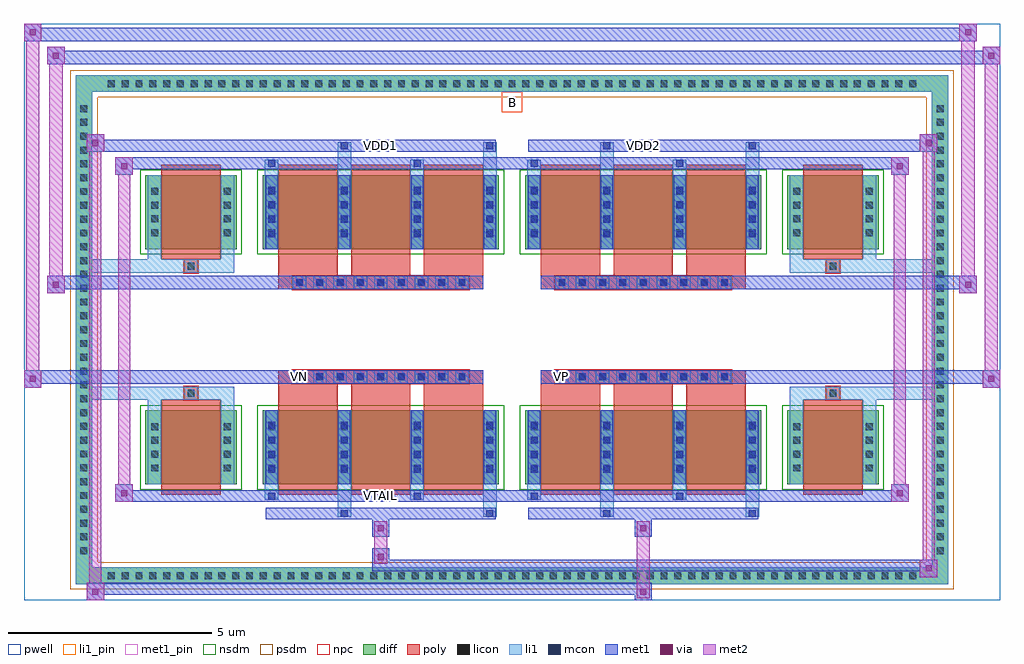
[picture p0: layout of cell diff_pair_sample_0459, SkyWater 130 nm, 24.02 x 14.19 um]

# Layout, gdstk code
import gdstk
lib = gdstk.Library(unit=1e-6, precision=5e-09)
def R(c, l, rs):  # rectangles x0, y0, x1, y1
    for r in rs: c.add(gdstk.rectangle(r[:2], r[2:], *l))
def A(c, l, x, y, w, h, nx, ny, dx, dy):  # array of equal rectangles
    R(c, l, [(x+i*dx, y+j*dy, x+i*dx+w, y+j*dy+h) for i in range(nx) for j in range(ny)])
def P(c, l, *ps):  # polygons
    for p in ps: c.add(gdstk.Polygon(p, *l))
pwell = (64, 44)
diff = (65, 20)
poly = (66, 20)
licon = (66, 44)
li1_pin = (67, 16)
li1 = (67, 20)
mcon = (67, 44)
met1_pin = (68, 16)
met1 = (68, 20)
via = (68, 44)
met2 = (69, 20)
nsdm = (93, 44)
psdm = (94, 20)
npc = (95, 20)

diff_pair_sample_0459 = lib.new_cell('diff_pair_sample_0459')
R(diff_pair_sample_0459, pwell, [(-12.01,-6.66,12.01,7.53), (-9.33,-4.85,-0.01,-0.795), (0.01,-4.85,9.33,-0.795), (-9.33,0.795,-0.01,4.85), (0.01,0.795,9.33,4.85)])
A(diff_pair_sample_0459, diff, -10.065, -6.26, 0.41, 0.41, 59, 2, 0.34, 12.11)
A(diff_pair_sample_0459, diff, -10.74, -5.645, 0.41, 0.41, 1, 33, 0, 0.34)
A(diff_pair_sample_0459, diff, 10.33, -5.645, 0.41, 0.41, 1, 33, 0, 0.34)
R(diff_pair_sample_0459, diff, [(-10.065,-6.26,10.065,-5.85), (-10.74,-5.645,-10.33,5.645), (10.33,-5.645,10.74,5.645), (-9.02,-3.805,-6.78,-1.985), (-6.14,-3.805,-0.32,-1.985), (0.32,-3.805,6.14,-1.985), (6.78,-3.805,9.02,-1.985), (-9.02,1.985,-6.78,3.805), (-6.14,1.985,-0.32,3.805), (0.32,1.985,6.14,3.805), (6.78,1.985,9.02,3.805), (-10.065,5.85,10.065,6.26)])
P(diff_pair_sample_0459, diff, [(10.74,6.26),(-10.74,6.26),(-10.74,-5.85),(-10.33,-5.85),(-10.33,5.85),(10.33,5.85),(10.33,-5.85),(-10.33,-5.85),(-10.74,-5.85),(-10.74,-6.26),(10.74,-6.26)])
A(diff_pair_sample_0459, poly, -5.75, -4.06, 1.46, 2.33, 3, 2, 1.79, 5.79)
A(diff_pair_sample_0459, poly, 0.71, -4.06, 1.46, 2.33, 3, 2, 1.79, 5.79)
A(diff_pair_sample_0459, poly, -5.75, -1.73, 1.46, 0.405, 3, 2, 1.79, 3.055)
A(diff_pair_sample_0459, poly, 0.71, -1.73, 1.46, 0.405, 3, 2, 1.79, 3.055)
A(diff_pair_sample_0459, poly, -5.395, -1.325, 0.33, 0.33, 9, 2, 0.5, 2.32)
A(diff_pair_sample_0459, poly, 1.065, -1.325, 0.33, 0.33, 9, 2, 0.5, 2.32)
R(diff_pair_sample_0459, poly, [(-8.63,-4.06,-7.17,-1.73), (7.17,-4.06,8.63,-1.73), (-8.065,-1.73,-7.735,-1.4), (-8.065,-1.73,-7.735,-1.4), (7.735,-1.73,8.065,-1.4), (7.735,-1.73,8.065,-1.4), (-5.75,-1.325,-0.71,-0.995), (0.71,-1.325,5.75,-0.995), (-5.75,0.995,-0.71,1.325), (0.71,0.995,5.75,1.325), (-8.065,1.4,-7.735,1.73), (-8.065,1.4,-7.735,1.73), (7.735,1.4,8.065,1.73), (7.735,1.4,8.065,1.73), (-8.63,1.73,-7.17,4.06), (7.17,1.73,8.63,4.06)])
A(diff_pair_sample_0459, licon, -9.945, -6.14, 0.17, 0.17, 59, 2, 0.34, 12.11)
A(diff_pair_sample_0459, licon, -10.62, -5.525, 0.17, 0.17, 1, 33, 0, 0.34)
A(diff_pair_sample_0459, licon, 10.45, -5.525, 0.17, 0.17, 1, 33, 0, 0.34)
A(diff_pair_sample_0459, licon, -8.88, -3.49, 0.17, 0.17, 1, 4, 0, 0.34)
A(diff_pair_sample_0459, licon, -7.09, -3.49, 0.17, 0.17, 1, 4, 0, 0.34)
A(diff_pair_sample_0459, licon, -6, -3.49, 0.17, 0.17, 4, 4, 1.79, 0.34)
A(diff_pair_sample_0459, licon, 0.46, -3.49, 0.17, 0.17, 4, 4, 1.79, 0.34)
A(diff_pair_sample_0459, licon, 6.92, -3.49, 0.17, 0.17, 1, 4, 0, 0.34)
A(diff_pair_sample_0459, licon, 8.71, -3.49, 0.17, 0.17, 1, 4, 0, 0.34)
A(diff_pair_sample_0459, licon, -5.315, -1.245, 0.17, 0.17, 9, 2, 0.5, 2.32)
A(diff_pair_sample_0459, licon, 1.145, -1.245, 0.17, 0.17, 9, 2, 0.5, 2.32)
A(diff_pair_sample_0459, licon, -8.88, 2.3, 0.17, 0.17, 1, 4, 0, 0.34)
A(diff_pair_sample_0459, licon, -7.09, 2.3, 0.17, 0.17, 1, 4, 0, 0.34)
A(diff_pair_sample_0459, licon, -6, 2.3, 0.17, 0.17, 4, 4, 1.79, 0.34)
A(diff_pair_sample_0459, licon, 0.46, 2.3, 0.17, 0.17, 4, 4, 1.79, 0.34)
A(diff_pair_sample_0459, licon, 6.92, 2.3, 0.17, 0.17, 1, 4, 0, 0.34)
A(diff_pair_sample_0459, licon, 8.71, 2.3, 0.17, 0.17, 1, 4, 0, 0.34)
R(diff_pair_sample_0459, licon, [(-7.985,-1.65,-7.815,-1.48), (7.815,-1.65,7.985,-1.48), (-7.985,1.48,-7.815,1.65), (7.815,1.48,7.985,1.65)])
R(diff_pair_sample_0459, li1_pin, [(-0.25,5.35,0.25,5.85)])
A(diff_pair_sample_0459, li1, -10.025, -6.22, 0.33, 0.33, 59, 2, 0.34, 12.11)
A(diff_pair_sample_0459, li1, -10.7, -5.605, 0.33, 0.33, 1, 33, 0, 0.34)
A(diff_pair_sample_0459, li1, 10.37, -5.605, 0.33, 0.33, 1, 33, 0, 0.34)
A(diff_pair_sample_0459, li1, -6.08, -3.805, 0.33, 1.82, 4, 2, 1.79, 5.79)
A(diff_pair_sample_0459, li1, 0.38, -3.805, 0.33, 1.82, 4, 2, 1.79, 5.79)
A(diff_pair_sample_0459, li1, -8.96, -3.57, 0.33, 0.33, 1, 4, 0, 0.34)
A(diff_pair_sample_0459, li1, -7.17, -3.57, 0.33, 0.33, 1, 4, 0, 0.34)
A(diff_pair_sample_0459, li1, -6.08, -3.57, 0.33, 0.33, 4, 4, 1.79, 0.34)
A(diff_pair_sample_0459, li1, 0.38, -3.57, 0.33, 0.33, 4, 4, 1.79, 0.34)
A(diff_pair_sample_0459, li1, 6.84, -3.57, 0.33, 0.33, 1, 4, 0, 0.34)
A(diff_pair_sample_0459, li1, 8.63, -3.57, 0.33, 0.33, 1, 4, 0, 0.34)
A(diff_pair_sample_0459, li1, -6, -3.52, 0.17, 0.17, 4, 4, 1.79, 0.36)
A(diff_pair_sample_0459, li1, -6, -3.52, 0.17, 1.25, 4, 2, 1.79, 5.79)
A(diff_pair_sample_0459, li1, 0.46, -3.52, 0.17, 0.17, 4, 4, 1.79, 0.36)
A(diff_pair_sample_0459, li1, 0.46, -3.52, 0.17, 1.25, 4, 2, 1.79, 5.79)
A(diff_pair_sample_0459, li1, -5.395, -1.325, 0.33, 0.33, 9, 2, 0.5, 2.32)
A(diff_pair_sample_0459, li1, 1.065, -1.325, 0.33, 0.33, 9, 2, 0.5, 2.32)
A(diff_pair_sample_0459, li1, -8.96, 2.22, 0.33, 0.33, 1, 4, 0, 0.34)
A(diff_pair_sample_0459, li1, -7.17, 2.22, 0.33, 0.33, 1, 4, 0, 0.34)
A(diff_pair_sample_0459, li1, -6.08, 2.22, 0.33, 0.33, 4, 4, 1.79, 0.34)
A(diff_pair_sample_0459, li1, 0.38, 2.22, 0.33, 0.33, 4, 4, 1.79, 0.34)
A(diff_pair_sample_0459, li1, 6.84, 2.22, 0.33, 0.33, 1, 4, 0, 0.34)
A(diff_pair_sample_0459, li1, 8.63, 2.22, 0.33, 0.33, 1, 4, 0, 0.34)
A(diff_pair_sample_0459, li1, -6, 2.27, 0.17, 0.17, 4, 4, 1.79, 0.36)
A(diff_pair_sample_0459, li1, 0.46, 2.27, 0.17, 0.17, 4, 4, 1.79, 0.36)
R(diff_pair_sample_0459, li1, [(-10.74,-6.26,-10.33,-5.85), (-10.74,-6.26,-10.33,-5.85), (-10.33,-6.26,10.33,-5.85), (10.33,-6.26,10.74,-5.85), (10.33,-6.26,10.74,-5.85), (-10.74,-5.85,-10.33,5.85), (10.33,-5.85,10.74,5.85), (-4.29,-4.61,-3.96,-3.805), (-4.21,-4.61,-4.04,-4.44), (-0.71,-4.61,-0.38,-3.805), (-0.63,-4.61,-0.46,-4.44), (2.17,-4.61,2.5,-3.805), (2.25,-4.61,2.42,-4.44), (5.75,-4.61,6.08,-3.805), (5.83,-4.61,6,-4.44), (-6.08,-4.18,-5.75,-3.805), (-6,-4.18,-5.83,-4.01), (-2.5,-4.18,-2.17,-3.805), (-2.42,-4.18,-2.25,-4.01), (0.38,-4.18,0.71,-3.805), (0.46,-4.18,0.63,-4.01), (3.96,-4.18,4.29,-3.805), (4.04,-4.18,4.21,-4.01), (-8.96,-3.805,-8.63,-1.985), (-7.17,-3.805,-6.84,-1.985), (6.84,-3.805,7.17,-1.985), (8.63,-3.805,8.96,-1.985), (-8.96,-1.985,-8.63,-1.4), (-7.17,-1.985,-6.84,-1.4), (6.84,-1.985,7.17,-1.4), (8.63,-1.985,8.96,-1.4), (-10.74,-1.73,-8.065,-1.4), (-8.96,-1.73,-8.065,-1.4), (-8.065,-1.73,-7.735,-1.4), (-7.735,-1.73,-6.84,-1.4), (6.84,-1.73,7.735,-1.4), (7.735,-1.73,8.065,-1.4), (7.735,-1.73,10.74,-1.4), (8.065,-1.73,8.96,-1.4), (-10.74,1.4,-8.065,1.73), (-8.96,1.4,-8.065,1.73), (-8.96,1.4,-8.63,1.985), (-8.065,1.4,-7.735,1.73), (-7.735,1.4,-6.84,1.73), (-7.17,1.4,-6.84,1.985), (6.84,1.4,7.735,1.73), (6.84,1.4,7.17,1.985), (7.735,1.4,8.065,1.73), (7.735,1.4,10.74,1.73), (8.065,1.4,8.96,1.73), (8.63,1.4,8.96,1.985), (-8.96,1.985,-8.63,3.805), (-7.17,1.985,-6.84,3.805), (6.84,1.985,7.17,3.805), (8.63,1.985,8.96,3.805), (-6.08,3.805,-5.75,4.18), (-4.29,3.805,-3.96,4.61), (-2.5,3.805,-2.17,4.18), (-0.71,3.805,-0.38,4.61), (0.38,3.805,0.71,4.18), (2.17,3.805,2.5,4.61), (3.96,3.805,4.29,4.18), (5.75,3.805,6.08,4.61), (-6,4.01,-5.83,4.18), (-2.42,4.01,-2.25,4.18), (0.46,4.01,0.63,4.18), (4.04,4.01,4.21,4.18), (-4.21,4.44,-4.04,4.61), (-0.63,4.44,-0.46,4.61), (2.25,4.44,2.42,4.61), (5.83,4.44,6,4.61), (-10.74,5.85,-10.33,6.26), (-10.74,5.85,-10.33,6.26), (-10.33,5.85,10.33,6.26), (10.33,5.85,10.74,6.26), (10.33,5.85,10.74,6.26)])
A(diff_pair_sample_0459, mcon, -6, -3.52, 0.17, 0.17, 4, 4, 1.79, 0.36)
A(diff_pair_sample_0459, mcon, 0.46, -3.52, 0.17, 0.17, 4, 4, 1.79, 0.36)
A(diff_pair_sample_0459, mcon, -5.315, -1.245, 0.17, 0.17, 9, 2, 0.5, 2.32)
A(diff_pair_sample_0459, mcon, 1.145, -1.245, 0.17, 0.17, 9, 2, 0.5, 2.32)
A(diff_pair_sample_0459, mcon, -6, 2.27, 0.17, 0.17, 4, 4, 1.79, 0.36)
A(diff_pair_sample_0459, mcon, 0.46, 2.27, 0.17, 0.17, 4, 4, 1.79, 0.36)
R(diff_pair_sample_0459, mcon, [(-4.21,-4.61,-4.04,-4.44), (-0.63,-4.61,-0.46,-4.44), (2.25,-4.61,2.42,-4.44), (5.83,-4.61,6,-4.44), (-6,-4.18,-5.83,-4.01), (-2.42,-4.18,-2.25,-4.01), (0.46,-4.18,0.63,-4.01), (4.04,-4.18,4.21,-4.01), (-6,4.01,-5.83,4.18), (-2.42,4.01,-2.25,4.18), (0.46,4.01,0.63,4.18), (4.04,4.01,4.21,4.18), (-4.21,4.44,-4.04,4.61), (-0.63,4.44,-0.46,4.61), (2.25,4.44,2.42,4.61), (5.83,4.44,6,4.61)])
R(diff_pair_sample_0459, met1_pin, [(-3.365,-4.22,-3.095,-3.95), (-5.365,-1.285,-5.095,-1.015), (1.095,-1.285,1.365,-1.015), (-3.365,4.4,-3.095,4.67), (3.095,4.4,3.365,4.67)])
A(diff_pair_sample_0459, met1, -6.06, -3.805, 0.29, 1.82, 4, 2, 1.79, 5.79)
A(diff_pair_sample_0459, met1, 0.4, -3.805, 0.29, 1.82, 4, 2, 1.79, 5.79)
A(diff_pair_sample_0459, met1, -6.06, -3.58, 0.29, 0.29, 4, 4, 1.79, 0.36)
A(diff_pair_sample_0459, met1, 0.4, -3.58, 0.29, 0.29, 4, 4, 1.79, 0.36)
A(diff_pair_sample_0459, met1, -5.375, -1.305, 0.29, 0.29, 9, 2, 0.5, 2.32)
A(diff_pair_sample_0459, met1, 1.085, -1.305, 0.29, 0.29, 9, 2, 0.5, 2.32)
A(diff_pair_sample_0459, met1, -6.06, 2.21, 0.29, 0.29, 4, 4, 1.79, 0.36)
A(diff_pair_sample_0459, met1, 0.4, 2.21, 0.29, 0.29, 4, 4, 1.79, 0.36)
R(diff_pair_sample_0459, met1, [(-10.47,-6.66,-10.04,-6.23), (3.015,-6.66,3.445,-6.23), (-10.47,-6.52,3.445,-6.23), (10.04,-6.09,10.47,-5.66), (-3.445,-5.95,10.47,-5.66), (-3.445,-5.81,-3.015,-5.38), (-3.445,-5.1,-3.015,-4.67), (3.015,-5.1,3.445,-4.67), (-6.06,-4.67,-0.4,-4.38), (-4.27,-4.67,-3.98,-4.38), (-0.69,-4.67,-0.4,-4.38), (0.4,-4.67,6.06,-4.38), (2.19,-4.67,2.48,-4.38), (5.77,-4.67,6.06,-4.38), (-9.76,-4.24,-9.33,-3.81), (-9.76,-4.24,-6.06,-3.95), (-6.06,-4.24,-5.77,-3.95), (-6.06,-4.24,-0.4,-3.95), (-2.48,-4.24,-2.19,-3.95), (-0.4,-4.24,0.4,-3.95), (0.4,-4.24,0.69,-3.95), (0.4,-4.24,6.06,-3.95), (3.98,-4.24,4.27,-3.95), (6.06,-4.24,9.76,-3.95), (9.33,-4.24,9.76,-3.81), (-12.01,-1.425,-11.58,-0.995), (11.58,-1.425,12.01,-0.995), (-12.01,-1.325,-0.71,-0.995), (-5.75,-1.325,-0.71,-0.995), (0.71,-1.325,5.75,-0.995), (0.71,-1.325,12.01,-0.995), (-11.44,0.895,-11.01,1.325), (11.01,0.895,11.44,1.325), (-11.44,0.995,-5.75,1.325), (-5.75,0.995,-0.71,1.325), (0.71,0.995,5.75,1.325), (5.75,0.995,11.44,1.325), (-9.76,3.81,-9.33,4.24), (9.33,3.81,9.76,4.24), (-9.76,3.95,-6.06,4.24), (-6.06,3.95,-5.77,4.24), (-6.06,3.95,-0.4,4.24), (-2.48,3.95,-2.19,4.24), (-0.4,3.95,0.4,4.24), (0.4,3.95,0.69,4.24), (0.4,3.95,6.06,4.24), (3.98,3.95,4.27,4.24), (6.06,3.95,9.76,4.24), (-10.47,4.38,-10.04,4.81), (-10.47,4.38,-6.06,4.67), (-6.06,4.38,-0.4,4.67), (-4.27,4.38,-3.98,4.67), (-0.69,4.38,-0.4,4.67), (0.4,4.38,6.06,4.67), (2.19,4.38,2.48,4.67), (5.77,4.38,6.06,4.67), (6.06,4.38,10.47,4.67), (10.04,4.38,10.47,4.81), (-11.44,6.53,-11.01,6.96), (-11.44,6.53,-9.33,6.86), (-9.33,6.53,9.33,6.86), (9.33,6.53,12.01,6.86), (11.58,6.53,12.01,6.96), (-12.01,7.1,-11.58,7.53), (-12.01,7.1,-9.33,7.43), (-9.33,7.1,9.33,7.43), (9.33,7.1,11.44,7.43), (11.01,7.1,11.44,7.53)])
R(diff_pair_sample_0459, via, [(-10.33,-6.52,-10.18,-6.37), (3.155,-6.52,3.305,-6.37), (10.18,-5.95,10.33,-5.8), (-3.305,-5.67,-3.155,-5.52), (-3.305,-4.96,-3.155,-4.81), (3.155,-4.96,3.305,-4.81), (-9.62,-4.1,-9.47,-3.95), (9.47,-4.1,9.62,-3.95), (-11.87,-1.285,-11.72,-1.135), (11.72,-1.285,11.87,-1.135), (-11.3,1.035,-11.15,1.185), (11.15,1.035,11.3,1.185), (-9.62,3.95,-9.47,4.1), (9.47,3.95,9.62,4.1), (-10.33,4.52,-10.18,4.67), (10.18,4.52,10.33,4.67), (-11.3,6.67,-11.15,6.82), (11.72,6.67,11.87,6.82), (-11.87,7.24,-11.72,7.39), (11.15,7.24,11.3,7.39)])
R(diff_pair_sample_0459, met2, [(-10.47,-6.66,-10.04,-6.23), (-10.4,-6.66,-10.11,4.81), (-10.11,-6.66,-10.04,-6.23), (-10.42,-6.61,-10.09,-6.28), (3.065,-6.61,3.395,-6.28), (3.065,-6.28,3.395,-5.05), (10.04,-6.09,10.47,-5.66), (10.11,-6.09,10.4,4.81), (10.4,-6.09,10.47,-5.66), (10.09,-6.04,10.42,-5.71), (-3.395,-5.76,-3.065,-5.43), (-3.395,-5.43,-3.065,-5.05), (-3.395,-5.05,-3.065,-4.72), (3.065,-5.05,3.395,-4.72), (-9.76,-4.24,-9.33,-3.81), (-9.69,-4.24,-9.4,4.24), (-9.4,-4.24,-9.33,-3.81), (9.33,-4.24,9.76,-3.81), (9.4,-4.24,9.69,4.24), (9.69,-4.24,9.76,-3.81), (-9.71,-4.19,-9.38,-3.86), (9.38,-4.19,9.71,-3.86), (-12.01,-1.425,-11.58,-0.995), (-11.96,-1.425,-11.63,7.53), (-11.63,-1.425,-11.58,-0.995), (11.58,-1.425,12.01,-0.995), (11.63,-1.425,11.96,6.96), (11.96,-1.425,12.01,-0.995), (-11.96,-1.375,-11.63,-1.045), (11.63,-1.375,11.96,-1.045), (-11.44,0.895,-11.01,1.325), (-11.39,0.895,-11.06,6.96), (-11.06,0.895,-11.01,1.325), (11.01,0.895,11.44,1.325), (11.06,0.895,11.39,7.53), (11.39,0.895,11.44,1.325), (-11.39,0.945,-11.06,1.275), (11.06,0.945,11.39,1.275), (-9.76,3.81,-9.33,4.24), (-9.4,3.81,-9.33,4.24), (9.33,3.81,9.76,4.24), (9.69,3.81,9.76,4.24), (-9.71,3.86,-9.38,4.19), (9.38,3.86,9.71,4.19), (-10.47,4.38,-10.04,4.81), (-10.11,4.38,-10.04,4.81), (10.04,4.38,10.47,4.81), (10.4,4.38,10.47,4.81), (-10.42,4.43,-10.09,4.76), (10.09,4.43,10.42,4.76), (-11.44,6.53,-11.01,6.96), (-11.06,6.53,-11.01,6.96), (11.58,6.53,12.01,6.96), (11.96,6.53,12.01,6.96), (-11.39,6.58,-11.06,6.91), (11.63,6.58,11.96,6.91), (-12.01,7.1,-11.58,7.53), (-11.63,7.1,-11.58,7.53), (11.01,7.1,11.44,7.53), (11.39,7.1,11.44,7.53), (-11.96,7.15,-11.63,7.48), (11.06,7.15,11.39,7.48)])
R(diff_pair_sample_0459, nsdm, [(-9.15,-3.935,-6.65,-1.855), (-6.27,-3.935,-0.19,-1.855), (0.19,-3.935,6.27,-1.855), (6.65,-3.935,9.15,-1.855), (-9.15,1.855,-6.65,3.935), (-6.27,1.855,-0.19,3.935), (0.19,1.855,6.27,3.935), (6.65,1.855,9.15,3.935)])
P(diff_pair_sample_0459, psdm, [(10.87,6.39),(-10.87,6.39),(-10.87,-5.72),(-10.2,-5.72),(-10.2,5.72),(10.2,5.72),(10.2,-5.72),(-10.2,-5.72),(-10.87,-5.72),(-10.87,-6.39),(10.87,-6.39)])
A(diff_pair_sample_0459, npc, -5.415, -1.345, 0.37, 0.37, 9, 2, 0.5, 2.32)
A(diff_pair_sample_0459, npc, 1.045, -1.345, 0.37, 0.37, 9, 2, 0.5, 2.32)
R(diff_pair_sample_0459, npc, [(-8.085,-1.75,-7.715,-1.38), (7.715,-1.75,8.085,-1.38), (-5.415,-1.345,-4.545,-0.975), (-5.415,-1.345,-4.545,-0.975), (-4.915,-1.345,-4.045,-0.975), (-4.915,-1.345,-4.045,-0.975), (-4.415,-1.345,-3.545,-0.975), (-4.415,-1.345,-3.545,-0.975), (-3.915,-1.345,-3.045,-0.975), (-3.915,-1.345,-3.045,-0.975), (-3.415,-1.345,-2.545,-0.975), (-3.415,-1.345,-2.545,-0.975), (-2.915,-1.345,-2.045,-0.975), (-2.915,-1.345,-2.045,-0.975), (-2.415,-1.345,-1.545,-0.975), (-2.415,-1.345,-1.545,-0.975), (-1.915,-1.345,-1.045,-0.975), (-1.915,-1.345,-1.045,-0.975), (1.045,-1.345,1.915,-0.975), (1.045,-1.345,1.915,-0.975), (1.545,-1.345,2.415,-0.975), (1.545,-1.345,2.415,-0.975), (2.045,-1.345,2.915,-0.975), (2.045,-1.345,2.915,-0.975), (2.545,-1.345,3.415,-0.975), (2.545,-1.345,3.415,-0.975), (3.045,-1.345,3.915,-0.975), (3.045,-1.345,3.915,-0.975), (3.545,-1.345,4.415,-0.975), (3.545,-1.345,4.415,-0.975), (4.045,-1.345,4.915,-0.975), (4.045,-1.345,4.915,-0.975), (4.545,-1.345,5.415,-0.975), (4.545,-1.345,5.415,-0.975), (-5.415,0.975,-4.545,1.345), (-5.415,0.975,-4.545,1.345), (-4.915,0.975,-4.045,1.345), (-4.915,0.975,-4.045,1.345), (-4.415,0.975,-3.545,1.345), (-4.415,0.975,-3.545,1.345), (-3.915,0.975,-3.045,1.345), (-3.915,0.975,-3.045,1.345), (-3.415,0.975,-2.545,1.345), (-3.415,0.975,-2.545,1.345), (-2.915,0.975,-2.045,1.345), (-2.915,0.975,-2.045,1.345), (-2.415,0.975,-1.545,1.345), (-2.415,0.975,-1.545,1.345), (-1.915,0.975,-1.045,1.345), (-1.915,0.975,-1.045,1.345), (1.045,0.975,1.915,1.345), (1.045,0.975,1.915,1.345), (1.545,0.975,2.415,1.345), (1.545,0.975,2.415,1.345), (2.045,0.975,2.915,1.345), (2.045,0.975,2.915,1.345), (2.545,0.975,3.415,1.345), (2.545,0.975,3.415,1.345), (3.045,0.975,3.915,1.345), (3.045,0.975,3.915,1.345), (3.545,0.975,4.415,1.345), (3.545,0.975,4.415,1.345), (4.045,0.975,4.915,1.345), (4.045,0.975,4.915,1.345), (4.545,0.975,5.415,1.345), (4.545,0.975,5.415,1.345), (-8.085,1.38,-7.715,1.75), (7.715,1.38,8.085,1.75)])
diff_pair_sample_0459.add(gdstk.Label('VTAIL', (-3.23,-4.085), layer=68, texttype=5))
diff_pair_sample_0459.add(gdstk.Label('VN', (-5.23,-1.15), layer=68, texttype=5))
diff_pair_sample_0459.add(gdstk.Label('VP', (1.23,-1.15), layer=68, texttype=5))
diff_pair_sample_0459.add(gdstk.Label('B', (0,5.6), layer=67, texttype=5))
diff_pair_sample_0459.add(gdstk.Label('VDD2', (3.23,4.535), layer=68, texttype=5))
diff_pair_sample_0459.add(gdstk.Label('VDD1', (-3.23,4.535), layer=68, texttype=5))

lib.write_gds('diff_pair_sample_0459.gds')
